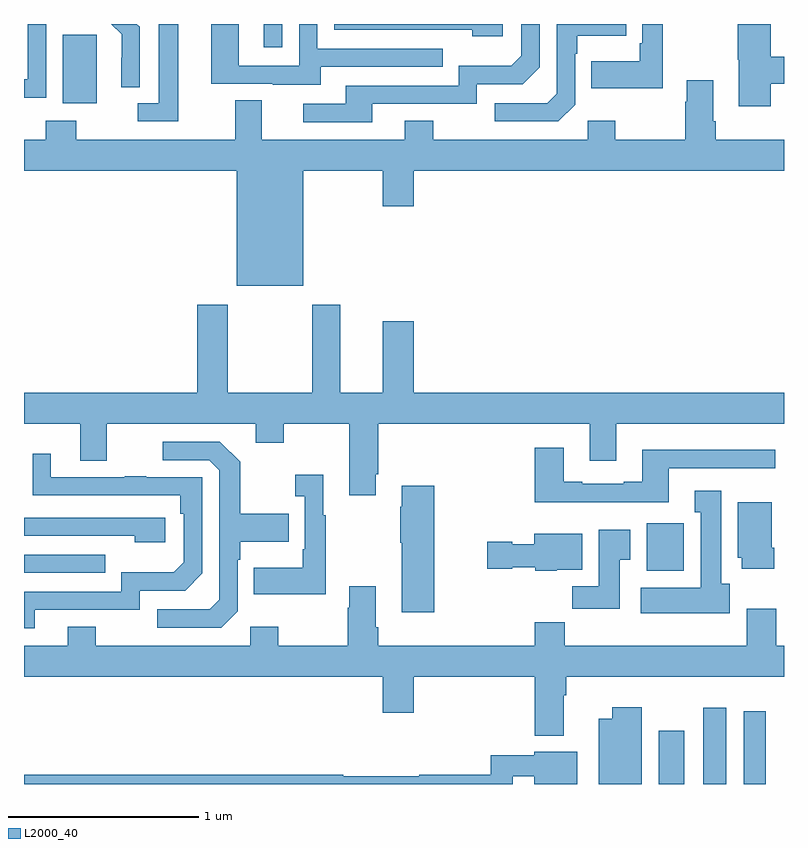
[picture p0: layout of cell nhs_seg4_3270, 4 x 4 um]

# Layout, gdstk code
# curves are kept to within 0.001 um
import gdstk
lib = gdstk.Library(unit=1e-6, precision=1e-09)
def R(c, l, rs):  # rectangles x0, y0, x1, y1
    for r in rs: c.add(gdstk.rectangle(r[:2], r[2:], *l))
def P(c, l, *ps):  # polygons
    for p in ps: c.add(gdstk.Polygon(p, *l))
L2000_40 = (2000, 40)

nhs_seg4_3270 = lib.new_cell('nhs_seg4_3270')
R(nhs_seg4_3270, L2000_40, [(286.34,818.9,286.474,819.181), (286.574,818.9,286.696,819.301), (286.788,818.9,286.904,819.283), (283,820.011,283.427,820.107), (286.277,820.022,286.473,820.273), (283.205,822.482,283.384,822.843), (284.261,822.777,284.358,822.9)])
P(nhs_seg4_3270, L2000_40, [(283.813,822.9),(283.709,822.9),(283.709,822.483),(283.599,822.483),(283.599,822.387),(283.813,822.387)],
  [(284.563,822.675),(285.203,822.675),(285.203,822.771),(284.544,822.771),(284.544,822.9),(284.448,822.9),(284.448,822.681),(284.13,822.681),(284.13,822.9),(283.985,822.9),(283.985,822.585),(284.309,822.585),(284.309,822.581),(284.563,822.581)],
  [(286.931,822.586),(287,822.586),(287,822.728),(286.931,822.728),(286.931,822.9),(286.756,822.9),(286.756,822.711),(286.763,822.711),(286.763,822.468),(286.931,822.468)],
  [(285.9,822.474),(285.9,822.743),(285.913,822.743),(285.913,822.839),(286.169,822.839),(286.169,822.9),(285.804,822.9),(285.804,822.534),(285.753,822.483),(285.477,822.483),(285.477,822.387),(285.813,822.387)],
  [(286.363,822.9),(286.254,822.9),(286.254,822.799),(286.242,822.799),(286.242,822.703),(285.985,822.703),(285.985,822.563),(286.363,822.563)],
  [(285.52,822.9),(284.634,822.9),(284.634,822.87),(285.359,822.87),(285.359,822.836),(285.52,822.836)],
  [(283.608,822.886),(283.594,822.9),(283.458,822.9),(283.514,822.845),(283.514,822.722),(283.512,822.722),(283.512,822.568),(283.608,822.568)],
  [(283.116,822.9),(283.02,822.9),(283.02,822.609),(283,822.609),(283,822.511),(283.116,822.511)],
  [(284.833,822.48),(285.384,822.48),(285.384,822.582),(285.624,822.582),(285.714,822.672),(285.714,822.9),(285.618,822.9),(285.618,822.732),(285.565,822.679),(285.288,822.679),(285.288,822.576),(284.693,822.576),(284.693,822.48),(284.469,822.48),(284.469,822.384),(284.833,822.384)],
  [(284.251,822.5),(284.111,822.5),(284.111,822.292),(283.275,822.292),(283.275,822.391),(283.115,822.391),(283.115,822.292),(283,822.292),(283,822.128),(284.12,822.128),(284.12,821.522),(284.47,821.522),(284.47,822.128),(284.888,822.128),(284.888,821.94),(285.052,821.94),(285.052,822.128),(287,822.128),(287,822.292),(286.64,822.292),(286.64,822.388),(286.627,822.388),(286.627,822.604),(286.487,822.604),(286.487,822.491),(286.48,822.491),(286.48,822.292),(286.113,822.292),(286.113,822.391),(285.966,822.391),(285.966,822.292),(285.153,822.292),(285.153,822.391),(285.005,822.391),(285.005,822.292),(284.251,822.292)],
  [(284.851,820.531),(284.864,820.531),(284.864,820.796),(285.977,820.796),(285.977,820.602),(286.117,820.602),(286.117,820.796),(287,820.796),(287,820.96),(285.052,820.96),(285.052,821.335),(284.888,821.335),(284.888,820.96),(284.665,820.96),(284.665,821.422),(284.518,821.422),(284.518,820.96),(284.073,820.96),(284.073,821.422),(283.913,821.422),(283.913,820.96),(283,820.96),(283,820.796),(283.295,820.796),(283.295,820.602),(283.435,820.602),(283.435,820.796),(284.219,820.796),(284.219,820.697),(284.367,820.697),(284.367,820.796),(284.711,820.796),(284.711,820.419),(284.851,820.419)],
  [(284.124,819.81),(284.124,820.079),(284.137,820.079),(284.137,820.175),(284.393,820.175),(284.393,820.323),(284.137,820.323),(284.137,820.595),(284.031,820.701),(283.731,820.701),(283.731,820.605),(283.974,820.605),(284.028,820.551),(284.028,819.87),(283.977,819.819),(283.701,819.819),(283.701,819.723),(284.037,819.723)],
  [(286.393,820.563),(286.954,820.563),(286.954,820.66),(286.253,820.66),(286.253,820.492),(286.157,820.492),(286.157,820.479),(285.937,820.479),(285.937,820.492),(285.841,820.492),(285.841,820.669),(285.689,820.669),(285.689,820.382),(286.393,820.382)],
  [(283.057,819.816),(283.608,819.816),(283.608,819.918),(283.848,819.918),(283.938,820.008),(283.938,820.515),(283.643,820.515),(283.643,820.52),(283.531,820.52),(283.531,820.515),(283.141,820.515),(283.141,820.639),(283.045,820.639),(283.045,820.42),(283.822,820.419),(283.822,820.322),(283.842,820.322),(283.842,820.068),(283.789,820.015),(283.512,820.015),(283.512,819.912),(283,819.912),(283,819.72),(283.057,819.72)],
  [(284.587,820.315),(284.575,820.315),(284.575,820.528),(284.427,820.528),(284.427,820.415),(284.478,820.415),(284.478,820.135),(284.466,820.135),(284.466,820.039),(284.209,820.039),(284.209,819.899),(284.587,819.899)],
  [(285.16,820.471),(284.987,820.471),(284.987,820.358),(284.98,820.358),(284.98,820.169),(284.987,820.169),(284.987,819.804),(285.16,819.804)],
  [(286.714,819.954),(286.669,819.954),(286.669,820.444),(286.529,820.444),(286.529,820.331),(286.562,820.331),(286.562,819.934),(286.245,819.934),(286.245,819.8),(286.714,819.8)],
  [(286.949,820.144),(286.936,820.144),(286.936,820.384),(286.757,820.384),(286.757,820.092),(286.778,820.092),(286.778,820.032),(286.949,820.032)],
  [(283.744,820.302),(283,820.302),(283,820.206),(283.583,820.206),(283.583,820.172),(283.744,820.172)],
  [(286.135,820.081),(286.192,820.081),(286.192,820.237),(286.025,820.237),(286.025,819.94),(285.886,819.94),(285.886,819.822),(286.135,819.822)],
  [(285.804,820.028),(285.937,820.028),(285.937,820.216),(285.686,820.216),(285.686,820.162),(285.57,820.162),(285.57,820.175),(285.438,820.175),(285.438,820.033),(285.57,820.033),(285.57,820.04),(285.69,820.04),(285.69,820.022),(285.804,820.022)],
  [(285.841,819.368),(285.854,819.368),(285.854,819.464),(287,819.464),(287,819.628),(286.958,819.628),(286.958,819.823),(286.805,819.823),(286.805,819.628),(285.845,819.628),(285.845,819.752),(285.689,819.752),(285.689,819.628),(284.864,819.628),(284.864,819.724),(284.851,819.724),(284.851,819.94),(284.711,819.94),(284.711,819.827),(284.704,819.827),(284.704,819.628),(284.337,819.628),(284.337,819.727),(284.19,819.727),(284.19,819.628),(283.377,819.628),(283.377,819.727),(283.229,819.727),(283.229,819.628),(283,819.628),(283,819.464),(284.888,819.464),(284.888,819.276),(285.052,819.276),(285.052,819.464),(285.689,819.464),(285.689,819.155),(285.841,819.155)],
  [(286.252,819.304),(286.097,819.304),(286.097,819.244),(286.025,819.244),(286.025,818.9),(286.252,818.9)],
  [(285.573,818.941),(285.686,818.941),(285.686,818.9),(285.913,818.9),(285.913,819.07),(285.686,819.07),(285.686,819.052),(285.457,819.052),(285.457,818.948),(285.08,818.948),(285.08,818.941),(284.68,818.941),(284.68,818.948),(283,818.948),(283,818.9),(285.573,818.9)])

lib.write_gds('nhs_seg4_3270.gds')
